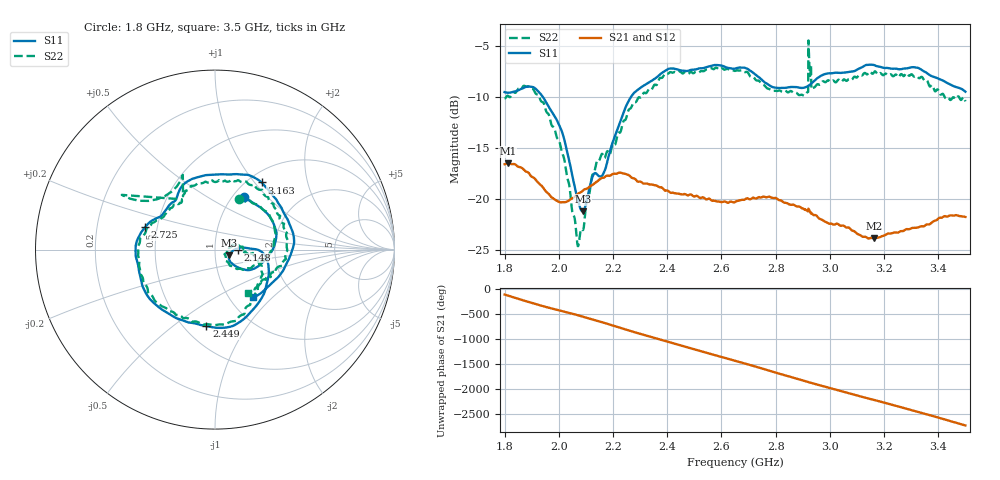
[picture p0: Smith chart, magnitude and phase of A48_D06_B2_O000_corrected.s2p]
! Created with skrf 1.9.0 (http://scikit-rf.org).
# Hz S RI R 50.0
!freq ReS11 ImS11 ReS21 ImS21 ReS12 ImS12 ReS22 ImS22
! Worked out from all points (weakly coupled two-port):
!   1601 points, 1.8 GHz to 3.5 GHz, reference 50 ohm
!   highest |S21| = -16.51 dB at 1.812 GHz (marker M1); lowest = -23.9 dB at 3.162 GHz (marker M2)
!   lowest |S11| = -21.2 dB at 2.088 GHz (marker M3), VSWR 1.19, Z = 58.6 - j3.85 ohm
!   |S11| at or under -10 dB: 1.942 GHz to 2.266 GHz (323.3 MHz wide, 15.4 % of centre)
!   |S22| runs from -24.7 to -4.4 dB; largest |S21 - S12| = 0.0024
!   S11 on the Smith chart (normalised r, x): 1.8 GHz: 1.12, +0.74; 2.148 GHz: 1.30, +0.00; 2.449 GHz: 0.64, -0.67; 2.725 GHz: 0.43, +0.13; 3.163 GHz: 1.15, +1.09; 3.5 GHz: 1.28, -0.76
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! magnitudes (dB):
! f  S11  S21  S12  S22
! 1.8 GHz  -9.5  -16.6  -16.6  -10.1
! 1.812 GHz  -9.6  -16.5  -16.5  -9.8
! 1.881 GHz  -9.0  -17.3  -17.3  -9.0
! 1.942 GHz  -10.0  -18.9  -18.9  -10.5
! 2.011 GHz  -13.4  -20.3  -20.3  -15.4
! 2.068 GHz  -19.9  -19.6  -19.6  -24.3
! 2.084 GHz  -21.2  -19.3  -19.3  -23.0
! 2.088 GHz  -21.2  -19.2  -19.2  -23.1
! 2.126 GHz  -17.7  -18.6  -18.6  -17.6
! 2.148 GHz  -17.8  -18.1  -18.1  -16.2
! 2.263 GHz  -10.1  -17.8  -17.8  -11.1
! 2.367 GHz  -7.9  -18.8  -18.7  -8.4
! 2.449 GHz  -7.4  -19.6  -19.5  -7.5
! 2.65 GHz  -7.2  -20.3  -20.3  -7.4
! 2.725 GHz  -7.8  -20.0  -19.9  -8.3
! 2.898 GHz  -9.1  -20.9  -20.9  -9.8
! 2.922 GHz  -8.8  -21.0  -21.0  -5.2
! 2.934 GHz  -8.6  -21.5  -21.4  -9.1
! 3.162 GHz  -6.8  -23.9  -23.8  -7.6
! 3.163 GHz  -6.8  -23.9  -23.9  -7.5
! 3.217 GHz  -7.1  -23.4  -23.4  -7.8
! 3.5 GHz  -9.5  -21.8  -21.8  -10.4
